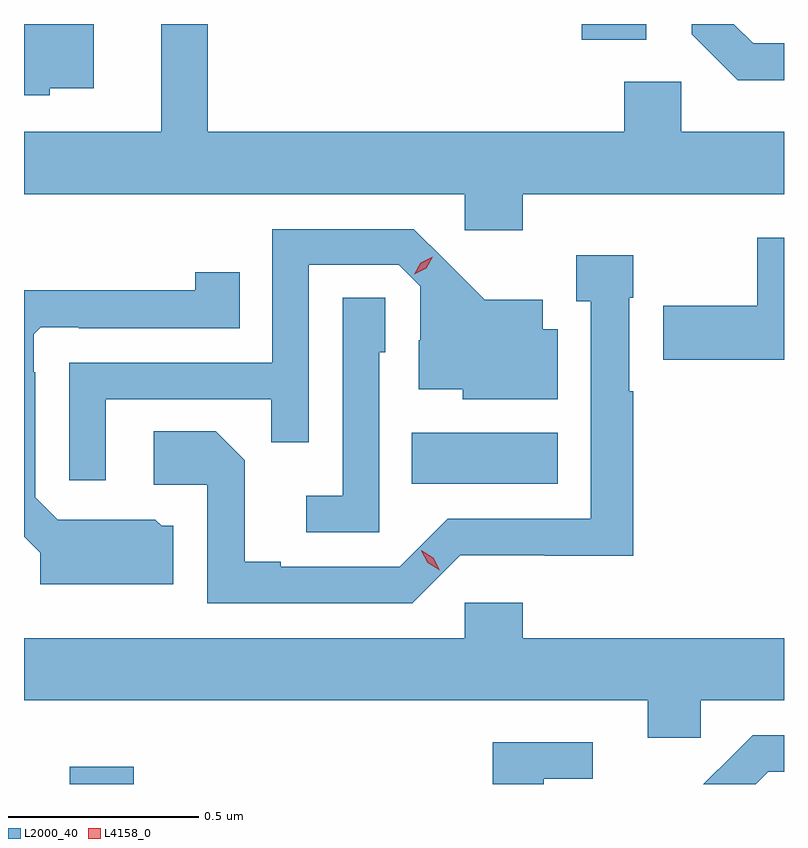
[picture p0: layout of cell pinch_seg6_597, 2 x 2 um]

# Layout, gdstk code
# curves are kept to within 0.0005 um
import gdstk
lib = gdstk.Library(unit=1e-6, precision=1e-09)
def R(c, l, rs):  # rectangles x0, y0, x1, y1
    for r in rs: c.add(gdstk.rectangle(r[:2], r[2:], *l))
def P(c, l, *ps):  # polygons
    for p in ps: c.add(gdstk.Polygon(p, *l))
L2000_40 = (2000, 40)
L4158_0 = (4158, 0)

pinch_seg6_597 = lib.new_cell('pinch_seg6_597')
R(pinch_seg6_597, L2000_40, [(602.447,973.756,602.615,973.801), (603.346,974.546,603.73,974.68), (603.794,975.714,603.964,975.756)])
P(pinch_seg6_597, L2000_40, [(603.638,975.308),(604.326,975.308),(604.326,975.472),(604.056,975.472),(604.056,975.604),(603.905,975.604),(603.905,975.472),(602.809,975.472),(602.809,975.756),(602.687,975.756),(602.687,975.472),(602.326,975.472),(602.326,975.308),(603.486,975.308),(603.486,975.213),(603.638,975.213)],
  [(604.326,975.705),(604.245,975.705),(604.194,975.756),(604.083,975.756),(604.083,975.729),(604.204,975.608),(604.326,975.608)],
  [(602.394,975.587),(602.509,975.587),(602.509,975.756),(602.326,975.756),(602.326,975.569),(602.394,975.569)],
  [(602.541,974.769),(602.977,974.769),(602.977,974.656),(603.075,974.656),(603.075,975.123),(603.312,975.123),(603.369,975.066),(603.369,974.924),(603.365,974.924),(603.365,974.795),(603.48,974.795),(603.48,974.768),(603.73,974.768),(603.73,974.953),(603.691,974.953),(603.691,975.031),(603.539,975.031),(603.352,975.216),(602.979,975.216),(602.979,974.865),(602.445,974.865),(602.445,974.556),(602.541,974.556)],
  [(604.326,975.193),(604.256,975.193),(604.256,975.015),(604.008,975.015),(604.008,974.873),(604.326,974.873)],
  [(603.474,974.358),(603.696,974.358),(603.696,974.357),(603.929,974.357),(603.929,974.789),(603.919,974.789),(603.919,975.035),(603.929,975.035),(603.929,975.148),(603.779,975.148),(603.779,975.027),(603.818,975.027),(603.818,974.454),(603.441,974.454),(603.315,974.328),(603.001,974.328),(603.001,974.341),(602.907,974.341),(602.907,974.608),(602.831,974.684),(602.667,974.684),(602.667,974.544),(602.808,974.544),(602.808,974.232),(603.348,974.232)],
  [(602.719,974.436),(602.688,974.436),(602.672,974.452),(602.538,974.452),(602.538,974.451),(602.415,974.451),(602.355,974.511),(602.355,974.84),(602.352,974.84),(602.352,974.94),(602.37,974.958),(602.47,974.958),(602.47,974.955),(602.894,974.955),(602.894,975.103),(602.776,975.103),(602.776,975.056),(602.419,975.056),(602.419,975.055),(602.326,975.055),(602.326,974.407),(602.369,974.364),(602.369,974.282),(602.719,974.282)],
  [(603.261,974.892),(603.276,974.892),(603.276,975.035),(603.165,975.035),(603.165,974.515),(603.069,974.515),(603.069,974.418),(603.261,974.418)],
  [(604.107,973.976),(604.326,973.976),(604.326,974.14),(603.638,974.14),(603.638,974.233),(603.486,974.233),(603.486,974.14),(602.326,974.14),(602.326,973.976),(603.968,973.976),(603.968,973.878),(604.107,973.878)],
  [(604.284,973.788),(604.326,973.788),(604.326,973.884),(604.244,973.884),(604.153,973.793),(604.152,973.794),(604.114,973.756),(604.252,973.756)],
  [(603.694,973.77),(603.823,973.77),(603.823,973.866),(603.56,973.866),(603.56,973.756),(603.694,973.756)])
P(pinch_seg6_597, L4158_0, [(603.42,974.319),(603.389,974.338),(603.372,974.37),(603.372,974.371),(603.372,974.371),(603.403,974.352),(603.42,974.319),(603.42,974.319)],
  [(603.353,975.098),(603.353,975.098),(603.37,975.128),(603.401,975.143),(603.401,975.143),(603.401,975.143),(603.384,975.113),(603.353,975.098)])

lib.write_gds('pinch_seg6_597.gds')
